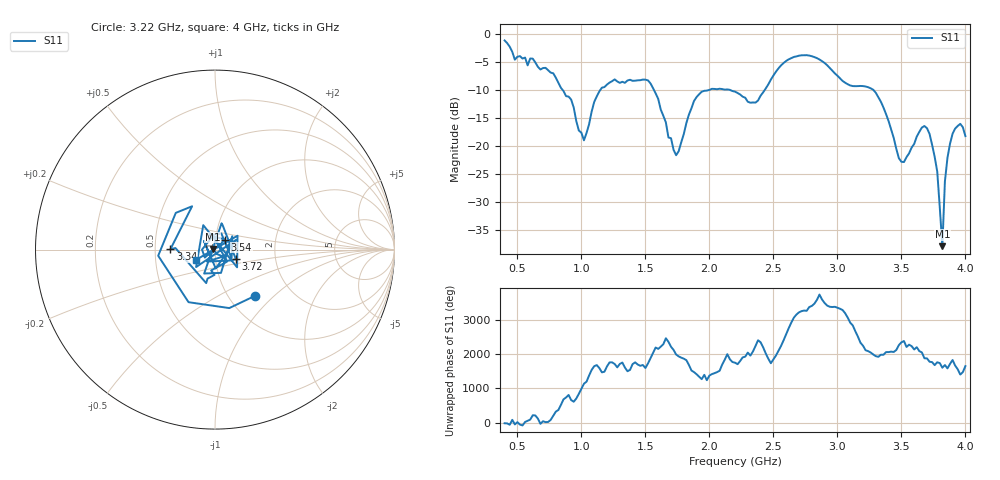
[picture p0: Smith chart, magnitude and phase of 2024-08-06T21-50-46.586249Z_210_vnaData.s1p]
!Created with skrf (http://scikit-rf.org).
# Hz S RI R 50.0
!freq ReS11 ImS11
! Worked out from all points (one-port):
!   181 points, 400 MHz to 4 GHz, reference 50 ohm
!   lowest |S11| = -37.9 dB at 3.82 GHz (marker M1), VSWR 1.03, Z = 48.8 + j0.401 ohm
!   |S11| at or under -10 dB: 854.3 MHz to 1.147 GHz (292.8 MHz wide, 29.3 % of centre); 1.567 GHz to 1.994 GHz (426.8 MHz wide, 24 % of centre); 3.282 GHz to end of sweep (the widest 3 of 4)
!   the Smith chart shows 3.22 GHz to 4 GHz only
!   S11 on the Smith chart (normalised r, x): 3.22 GHz: 1.32, -0.77; 3.34 GHz: 0.60, +0.00; 3.54 GHz: 1.11, +0.13; 3.72 GHz: 1.26, -0.14; 4 GHz: 0.80, -0.09
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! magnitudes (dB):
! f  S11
! 400 MHz  -1.1
! 480 MHz  -4.6
! 620 MHz  -4.4
! 860 MHz  -10.2
! 1.02 GHz  -19.0
! 1.14 GHz  -10.2
! 1.3 GHz  -8.7
! 1.52 GHz  -8.3
! 1.76 GHz  -20.9
! 1.92 GHz  -10.7
! 2.2 GHz  -10.3
! 2.36 GHz  -12.2
! 2.66 GHz  -4.1
! 2.84 GHz  -4.3
! 3.1 GHz  -9.2
! 3.22 GHz  -9.4
! 3.34 GHz  -12.1
! 3.48 GHz  -22.2
! 3.54 GHz  -22.0
! 3.56 GHz  -21.3
! 3.66 GHz  -16.7
! 3.72 GHz  -17.8
! 3.78 GHz  -24.6
! 3.82 GHz  -37.9
! 3.84 GHz  -26.3
! 3.88 GHz  -19.6
! 3.96 GHz  -16.0
! 4 GHz  -18.2
